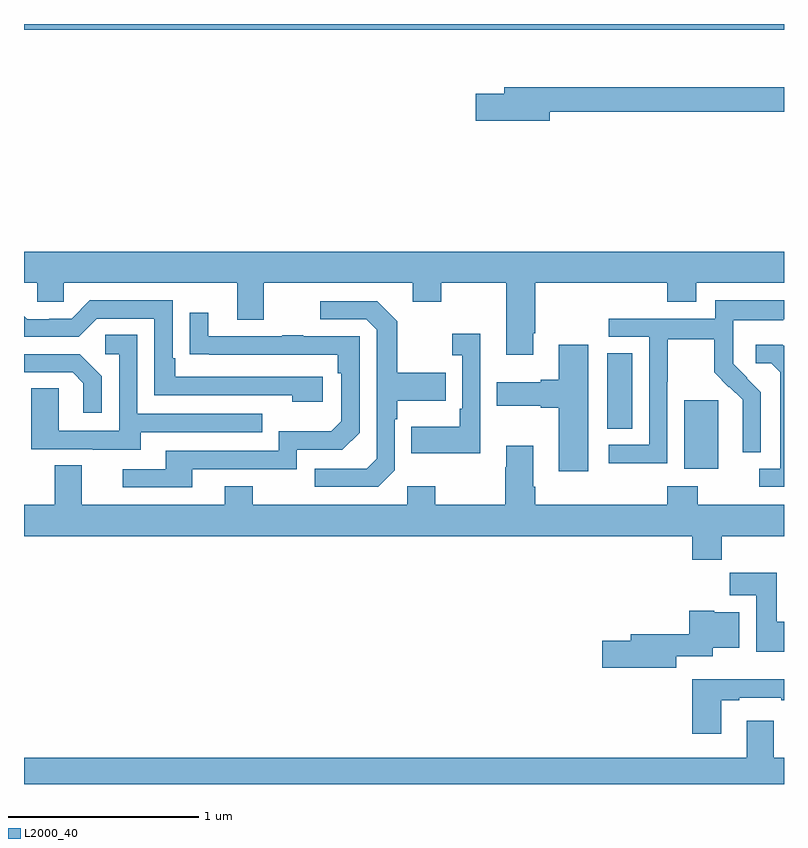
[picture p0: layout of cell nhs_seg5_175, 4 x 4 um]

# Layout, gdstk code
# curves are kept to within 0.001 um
import gdstk
lib = gdstk.Library(unit=1e-6, precision=1e-09)
def R(c, l, rs):  # rectangles x0, y0, x1, y1
    for r in rs: c.add(gdstk.rectangle(r[:2], r[2:], *l))
def P(c, l, *ps):  # polygons
    for p in ps: c.add(gdstk.Polygon(p, *l))
L2000_40 = (2000, 40)

nhs_seg5_175 = lib.new_cell('nhs_seg5_175')
R(nhs_seg5_175, L2000_40, [(124.475,846.458,124.654,846.819), (124.07,846.67,124.201,847.067), (121,848.768,125,848.799)])
P(nhs_seg5_175, L2000_40, [(123.766,848.338),(125,848.338),(125,848.467),(123.527,848.467),(123.527,848.433),(123.378,848.433),(123.378,848.291),(123.766,848.291)],
  [(123.679,847.171),(123.692,847.171),(123.692,847.436),(124.385,847.436),(124.385,847.337),(124.537,847.337),(124.537,847.436),(125,847.436),(125,847.6),(121,847.6),(121,847.436),(121.071,847.436),(121.071,847.338),(121.209,847.338),(121.209,847.436),(122.123,847.436),(122.123,847.242),(122.263,847.242),(122.263,847.436),(123.047,847.436),(123.047,847.337),(123.195,847.337),(123.195,847.436),(123.539,847.436),(123.539,847.059),(123.679,847.059)],
  [(124.386,846.916),(124.389,846.916),(124.389,847.14),(124.633,847.14),(124.633,846.965),(124.71,846.888),(124.713,846.891),(124.784,846.821),(124.784,846.698),(124.782,846.698),(124.782,846.544),(124.878,846.544),(124.878,846.862),(124.732,847.01),(124.732,847.107),(124.734,847.107),(124.734,847.241),(124.997,847.241),(124.997,847.245),(125,847.245),(125,847.345),(124.638,847.345),(124.638,847.248),(124.077,847.248),(124.077,847.152),(124.29,847.152),(124.29,846.585),(124.077,846.585),(124.077,846.487),(124.386,846.487)],
  [(122.572,846.942),(121.795,846.942),(121.795,847.039),(121.782,847.039),(121.782,847.344),(121.347,847.344),(121.251,847.248),(121.133,847.248),(121.133,847.245),(121.017,847.245),(121,847.262),(121,847.152),(121.287,847.152),(121.383,847.248),(121.686,847.248),(121.686,846.846),(122.411,846.846),(122.411,846.812),(122.572,846.812)],
  [(122.952,846.45),(122.952,846.719),(122.965,846.719),(122.965,846.815),(123.221,846.815),(123.221,846.963),(122.965,846.963),(122.965,847.235),(122.859,847.341),(122.559,847.341),(122.559,847.245),(122.802,847.245),(122.856,847.191),(122.856,846.51),(122.805,846.459),(122.529,846.459),(122.529,846.363),(122.865,846.363)],
  [(121.885,846.456),(122.436,846.456),(122.436,846.558),(122.676,846.558),(122.766,846.648),(122.766,847.155),(122.471,847.155),(122.471,847.16),(122.359,847.16),(122.359,847.155),(121.969,847.155),(121.969,847.279),(121.873,847.279),(121.873,847.06),(122.65,847.059),(122.65,846.962),(122.67,846.962),(122.67,846.708),(122.617,846.655),(122.34,846.655),(122.34,846.552),(121.745,846.552),(121.745,846.456),(121.521,846.456),(121.521,846.36),(121.885,846.36)],
  [(123.402,847.168),(123.255,847.168),(123.255,847.055),(123.306,847.055),(123.306,846.775),(123.294,846.775),(123.294,846.679),(123.037,846.679),(123.037,846.539),(123.402,846.539)],
  [(121.615,846.651),(122.255,846.651),(122.255,846.747),(121.596,846.747),(121.596,847.163),(121.428,847.163),(121.428,847.062),(121.5,847.062),(121.5,846.657),(121.182,846.657),(121.182,846.881),(121.037,846.881),(121.037,846.561),(121.361,846.561),(121.361,846.557),(121.615,846.557)],
  [(125,847.105),(124.994,847.111),(124.851,847.111),(124.851,847.014),(124.932,847.014),(124.979,846.967),(124.979,846.459),(124.869,846.459),(124.869,846.363),(125,846.363)],
  [(123.97,847.111),(123.815,847.111),(123.815,846.926),(123.719,846.926),(123.719,846.913),(123.489,846.913),(123.489,846.791),(123.719,846.791),(123.719,846.779),(123.815,846.779),(123.815,846.444),(123.97,846.444)],
  [(121.41,846.946),(121.294,847.062),(121,847.062),(121,846.966),(121.256,846.966),(121.313,846.909),(121.313,846.753),(121.41,846.753)],
  [(124.673,846.104),(125,846.104),(125,846.268),(124.545,846.268),(124.545,846.367),(124.385,846.367),(124.385,846.268),(123.692,846.268),(123.692,846.364),(123.679,846.364),(123.679,846.58),(123.539,846.58),(123.539,846.467),(123.532,846.467),(123.532,846.268),(123.165,846.268),(123.165,846.367),(123.018,846.367),(123.018,846.268),(122.205,846.268),(122.205,846.367),(122.057,846.367),(122.057,846.268),(121.303,846.268),(121.303,846.476),(121.163,846.476),(121.163,846.268),(121,846.268),(121,846.104),(124.517,846.104),(124.517,845.98),(124.673,845.98)],
  [(125,845.652),(124.963,845.652),(124.963,845.911),(124.714,845.911),(124.714,845.792),(124.853,845.792),(124.853,845.496),(125,845.496)],
  [(124.432,845.472),(124.624,845.472),(124.624,845.516),(124.765,845.516),(124.765,845.704),(124.632,845.704),(124.632,845.71),(124.502,845.71),(124.502,845.588),(124.193,845.588),(124.193,845.552),(124.044,845.552),(124.044,845.41),(124.432,845.41)],
  [(124.669,845.241),(124.765,845.241),(124.765,845.253),(124.985,845.253),(124.985,845.241),(125,845.241),(125,845.35),(124.517,845.35),(124.517,845.064),(124.669,845.064)],
  [(125,844.936),(124.945,844.936),(124.945,845.131),(124.805,845.131),(124.805,844.936),(121,844.936),(121,844.799),(125,844.799)])

lib.write_gds('nhs_seg5_175.gds')
